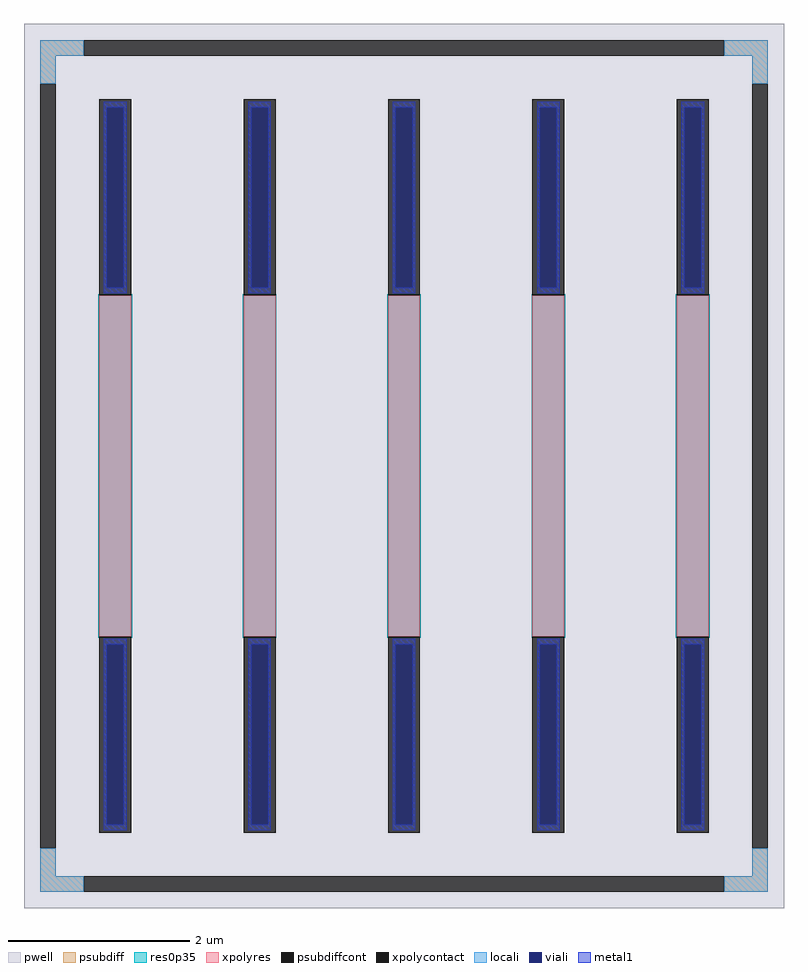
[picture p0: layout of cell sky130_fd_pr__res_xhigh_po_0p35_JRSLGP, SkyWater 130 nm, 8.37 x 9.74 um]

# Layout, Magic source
magic
tech sky130A
magscale 1 2
<< pwell >>
rect -837 -974 837 974
<< psubdiff >>
rect -801 904 -705 938
rect 705 904 801 938
rect -801 842 -767 904
rect 767 842 801 904
rect -801 -904 -767 -842
rect 767 -904 801 -842
rect -801 -938 -705 -904
rect 705 -938 801 -904
<< psubdiffcont >>
rect -705 904 705 938
rect -801 -842 -767 842
rect 767 -842 801 842
rect -705 -938 705 -904
<< xpolycontact >>
rect -671 376 -601 808
rect -671 -808 -601 -376
rect -353 376 -283 808
rect -353 -808 -283 -376
rect -35 376 35 808
rect -35 -808 35 -376
rect 283 376 353 808
rect 283 -808 353 -376
rect 601 376 671 808
rect 601 -808 671 -376
<< xpolyres >>
rect -671 -376 -601 376
rect -353 -376 -283 376
rect -35 -376 35 376
rect 283 -376 353 376
rect 601 -376 671 376
<< locali >>
rect -801 904 -705 938
rect 705 904 801 938
rect -801 842 -767 904
rect 767 842 801 904
rect -801 -904 -767 -842
rect 767 -904 801 -842
rect -801 -938 -705 -904
rect 705 -938 801 -904
<< viali >>
rect -655 393 -617 790
rect -337 393 -299 790
rect -19 393 19 790
rect 299 393 337 790
rect 617 393 655 790
rect -655 -790 -617 -393
rect -337 -790 -299 -393
rect -19 -790 19 -393
rect 299 -790 337 -393
rect 617 -790 655 -393
<< metal1 >>
rect -661 790 -611 802
rect -661 393 -655 790
rect -617 393 -611 790
rect -661 381 -611 393
rect -343 790 -293 802
rect -343 393 -337 790
rect -299 393 -293 790
rect -343 381 -293 393
rect -25 790 25 802
rect -25 393 -19 790
rect 19 393 25 790
rect -25 381 25 393
rect 293 790 343 802
rect 293 393 299 790
rect 337 393 343 790
rect 293 381 343 393
rect 611 790 661 802
rect 611 393 617 790
rect 655 393 661 790
rect 611 381 661 393
rect -661 -393 -611 -381
rect -661 -790 -655 -393
rect -617 -790 -611 -393
rect -661 -802 -611 -790
rect -343 -393 -293 -381
rect -343 -790 -337 -393
rect -299 -790 -293 -393
rect -343 -802 -293 -790
rect -25 -393 25 -381
rect -25 -790 -19 -393
rect 19 -790 25 -393
rect -25 -802 25 -790
rect 293 -393 343 -381
rect 293 -790 299 -393
rect 337 -790 343 -393
rect 293 -802 343 -790
rect 611 -393 661 -381
rect 611 -790 617 -393
rect 655 -790 661 -393
rect 611 -802 661 -790
<< res0p35 >>
rect -673 -378 -599 378
rect -355 -378 -281 378
rect -37 -378 37 378
rect 281 -378 355 378
rect 599 -378 673 378
<< properties >>
string gencell sky130_fd_pr__res_xhigh_po_0p35
string FIXED_BBOX -784 -921 784 921
string parameters w 0.350 l 3.763 m 1 nx 5 wmin 0.350 lmin 0.50 rho 2000 val 22.188k dummy 0 dw 0.0 term 120 sterm 0.0 caplen 0 wmax 0.350 guard 1 glc 1 grc 1 gtc 1 gbc 1 compatible {sky130_fd_pr__res_xhigh_po_0p35  sky130_fd_pr__res_xhigh_po_0p69 sky130_fd_pr__res_xhigh_po_1p41  sky130_fd_pr__res_xhigh_po_2p85 sky130_fd_pr__res_xhigh_po_5p73} full_metal 1 vias 1 viagb 0 viagt 0 viagl 0 viagr 0
string library sky130
<< end >>
